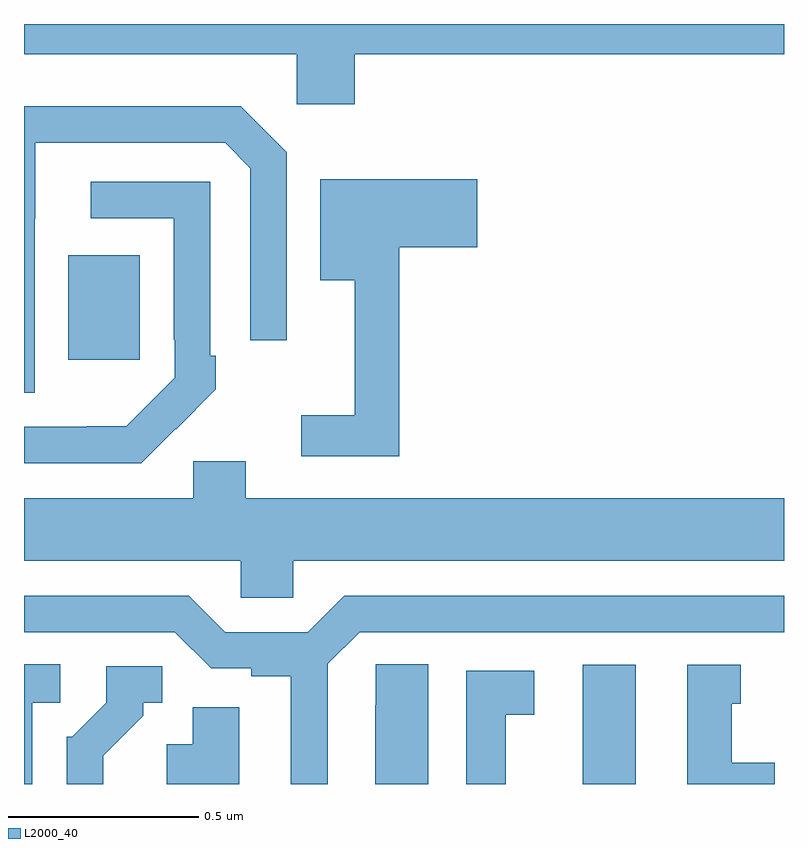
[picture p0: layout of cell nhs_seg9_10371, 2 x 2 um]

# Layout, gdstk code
import gdstk
lib = gdstk.Library(unit=1e-6, precision=1e-09)
def R(c, l, rs):  # rectangles x0, y0, x1, y1
    for r in rs: c.add(gdstk.rectangle(r[:2], r[2:], *l))
def P(c, l, *ps):  # polygons
    for p in ps: c.add(gdstk.Polygon(p, *l))
L2000_40 = (2000, 40)

nhs_seg9_10371 = lib.new_cell('nhs_seg9_10371')
R(nhs_seg9_10371, L2000_40, [(243.47,1194.5,243.61,1194.814), (242.117,1195.617,242.305,1195.891)])
P(nhs_seg9_10371, L2000_40, [(242.87,1196.42),(244,1196.42),(244,1196.5),(242,1196.5),(242,1196.42),(242.718,1196.42),(242.718,1196.289),(242.87,1196.289)],
  [(242.028,1195.987),(242.029,1195.987),(242.029,1196.187),(242.529,1196.187),(242.595,1196.121),(242.595,1195.668),(242.691,1195.668),(242.691,1196.163),(242.57,1196.284),(242,1196.284),(242,1195.53),(242.028,1195.53)],
  [(242.987,1195.913),(243.193,1195.913),(243.193,1196.091),(242.78,1196.091),(242.78,1195.826),(242.87,1195.826),(242.87,1195.471),(242.73,1195.471),(242.73,1195.362),(242.987,1195.362)],
  [(242.399,1195.435),(242.4,1195.434),(242.505,1195.539),(242.505,1195.627),(242.49,1195.627),(242.49,1196.085),(242.175,1196.085),(242.175,1195.989),(242.394,1195.989),(242.394,1195.669),(242.397,1195.669),(242.397,1195.569),(242.269,1195.441),(242.165,1195.441),(242.165,1195.44),(242,1195.44),(242,1195.344),(242.308,1195.344)],
  [(242.709,1195.088),(244,1195.088),(244,1195.252),(242.584,1195.252),(242.584,1195.35),(242.445,1195.35),(242.445,1195.252),(242,1195.252),(242,1195.088),(242.571,1195.088),(242.571,1194.99),(242.709,1194.99)],
  [(242.799,1194.816),(242.883,1194.9),(244,1194.9),(244,1194.996),(242.843,1194.996),(242.747,1194.9),(242.529,1194.9),(242.433,1194.996),(242,1194.996),(242,1194.9),(242.397,1194.9),(242.493,1194.804),(242.598,1194.804),(242.598,1194.784),(242.702,1194.784),(242.702,1194.5),(242.799,1194.5)],
  [(243.064,1194.815),(242.925,1194.815),(242.925,1194.707),(242.924,1194.707),(242.924,1194.5),(243.064,1194.5)],
  [(242.022,1194.714),(242.095,1194.714),(242.095,1194.815),(242,1194.815),(242,1194.5),(242.022,1194.5)],
  [(243.976,1194.556),(243.862,1194.556),(243.862,1194.711),(243.886,1194.711),(243.886,1194.814),(243.746,1194.814),(243.746,1194.5),(243.976,1194.5)],
  [(242.209,1194.574),(242.314,1194.679),(242.314,1194.714),(242.364,1194.714),(242.364,1194.81),(242.217,1194.81),(242.217,1194.714),(242.127,1194.624),(242.112,1194.624),(242.112,1194.5),(242.209,1194.5)],
  [(243.268,1194.682),(243.343,1194.682),(243.343,1194.798),(243.164,1194.798),(243.164,1194.5),(243.268,1194.5)],
  [(242.566,1194.702),(242.444,1194.702),(242.444,1194.604),(242.375,1194.604),(242.375,1194.5),(242.566,1194.5)])

lib.write_gds('nhs_seg9_10371.gds')
